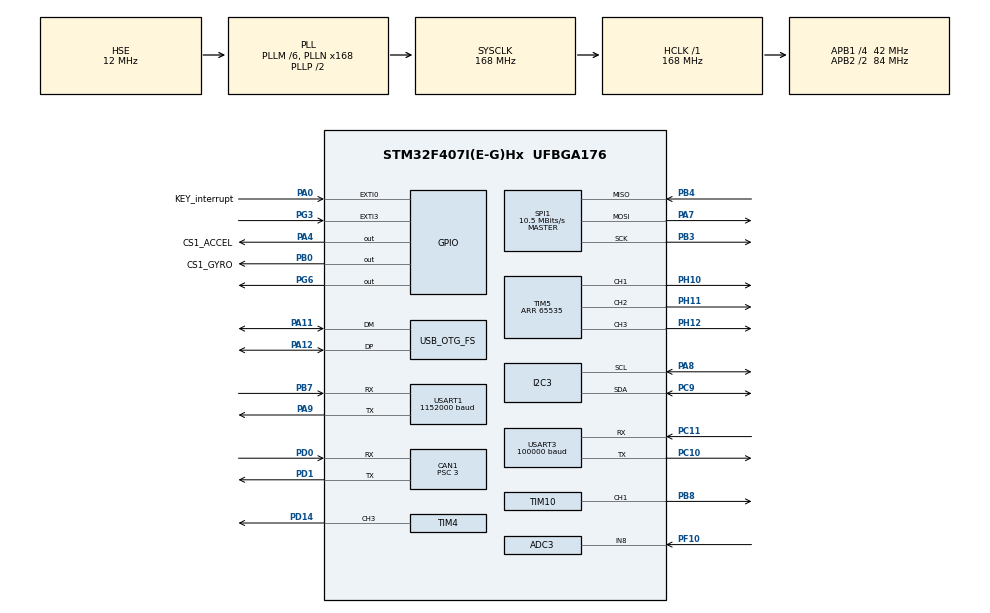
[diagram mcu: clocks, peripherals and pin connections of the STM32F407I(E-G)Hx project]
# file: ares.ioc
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ADC1.Channel-1\#ChannelRegularConversion=ADC_CHANNEL_VREFINT
ADC1.NbrOfConversionFlag=1
ADC1.Rank-1\#ChannelRegularConversion=1
ADC1.SamplingTime-1\#ChannelRegularConversion=ADC_SAMPLETIME_3CYCLES
ADC1.master=1
ADC3.Channel-0\#ChannelRegularConversion=ADC_CHANNEL_8
ADC3.NbrOfConversionFlag=1
ADC3.Rank-0\#ChannelRegularConversion=1
ADC3.SamplingTime-0\#ChannelRegularConversion=ADC_SAMPLETIME_3CYCLES
CAN1.BS1=CAN_BS1_10TQ
CAN1.BS2=CAN_BS2_3TQ
CAN1.CalculateBaudRate=1000000
CAN1.CalculateTimeBit=1000
CAN1.CalculateTimeQuantum=71.42857142857143
CAN1.Prescaler=3
Dma.Request0=USART3_RX
Dma.USART3_RX.0.Direction=DMA_PERIPH_TO_MEMORY
Dma.USART3_RX.0.FIFOMode=DMA_FIFOMODE_DISABLE
Dma.USART3_RX.0.Instance=DMA1_Stream1
Dma.USART3_RX.0.MemDataAlignment=DMA_MDATAALIGN_BYTE
Dma.USART3_RX.0.MemInc=DMA_MINC_ENABLE
Dma.USART3_RX.0.Mode=DMA_NORMAL
Dma.USART3_RX.0.PeriphDataAlignment=DMA_PDATAALIGN_BYTE
Dma.USART3_RX.0.PeriphInc=DMA_PINC_DISABLE
Dma.USART3_RX.0.Priority=DMA_PRIORITY_LOW
FREERTOS.Tasks01=defaultTask,0,128,StartDefaultTask,Default,NULL,Dynamic,NULL,NULL
I2C3.I2C_Mode=I2C_Fast
Mcu.Family=STM32F4
Mcu.Name=STM32F407I(E-G)Hx
Mcu.Package=UFBGA176
NVIC.CAN1_RX0_IRQn=true\:5\:0\:false\:false\:true\:true\:true\:true\:true
NVIC.CAN1_RX1_IRQn=true\:5\:0\:false\:false\:true\:true\:true\:true\:true
NVIC.CAN1_SCE_IRQn=true\:5\:0\:false\:false\:true\:true\:true\:true\:true
NVIC.CAN1_TX_IRQn=true\:5\:0\:false\:false\:true\:true\:true\:true\:true
NVIC.DMA1_Stream1_IRQn=true\:5\:0\:false\:false\:true\:true\:false\:true\:true
NVIC.EXTI0_IRQn=true\:5\:0\:false\:false\:true\:true\:true\:true\:true
NVIC.EXTI3_IRQn=true\:5\:0\:false\:false\:true\:true\:true\:true\:true
NVIC.OTG_FS_IRQn=true\:5\:0\:false\:false\:true\:true\:true\:true\:true
NVIC.PriorityGroup=NVIC_PRIORITYGROUP_4
NVIC.TIM7_IRQn=true\:15\:0\:false\:false\:true\:false\:false\:true\:true
NVIC.TimeBase=TIM7_IRQn
NVIC.TimeBaseIP=TIM7
NVIC.USART1_IRQn=true\:5\:0\:false\:false\:true\:true\:true\:true\:true
NVIC.USART3_IRQn=true\:5\:0\:false\:false\:true\:true\:true\:true\:true
PA0-WKUP.GPIO_Label=KEY_interrupt
PA0-WKUP.GPIO_ModeDefaultEXTI=GPIO_MODE_IT_FALLING
PA0-WKUP.Signal=GPXTI0
PA11.Mode=Device_Only
PA11.Signal=USB_OTG_FS_DM
PA12.Mode=Device_Only
PA12.Signal=USB_OTG_FS_DP
PA13.Mode=Serial_Wire
PA13.Signal=SYS_JTMS-SWDIO
PA14.Mode=Serial_Wire
PA14.Signal=SYS_JTCK-SWCLK
PA4.GPIO_Label=CS1_ACCEL
PA4.PinState=GPIO_PIN_SET
PA4.Signal=GPIO_Output
PA7.Mode=Full_Duplex_Master
PA7.Signal=SPI1_MOSI
PA8.Mode=I2C
PA8.Signal=I2C3_SCL
PA9.Mode=Asynchronous
PA9.Signal=USART1_TX
PB0.GPIO_Label=CS1_GYRO
PB0.PinState=GPIO_PIN_SET
PB0.Signal=GPIO_Output
PB3.Mode=Full_Duplex_Master
PB3.Signal=SPI1_SCK
PB4.Mode=Full_Duplex_Master
PB4.Signal=SPI1_MISO
PB7.Mode=Asynchronous
PB7.Signal=USART1_RX
PB8.Signal=S_TIM10_CH1
PC10.Mode=Asynchronous
PC10.Signal=USART3_TX
PC11.Mode=Asynchronous
PC11.Signal=USART3_RX
PC9.Mode=I2C
PC9.Signal=I2C3_SDA
PD0.Mode=CAN_Activate
PD0.Signal=CAN1_RX
PD1.Mode=CAN_Activate
PD1.Signal=CAN1_TX
PD14.Signal=S_TIM4_CH3
PF10.Mode=IN8
PF10.Signal=ADC3_IN8
PG3.Signal=GPXTI3
PG6.Signal=GPIO_Output
PH0-OSC_IN.Mode=HSE-External-Oscillator
PH0-OSC_IN.Signal=RCC_OSC_IN
PH1-OSC_OUT.Mode=HSE-External-Oscillator
PH1-OSC_OUT.Signal=RCC_OSC_OUT
PH10.Signal=S_TIM5_CH1
PH11.Signal=S_TIM5_CH2
PH12.Signal=S_TIM5_CH3
ProjectManager.HeapSize=0x5000
ProjectManager.StackSize=0x5000
ProjectManager.TargetToolchain=Makefile
RCC.48MHZClocksFreq_Value=48000000
RCC.AHBFreq_Value=168000000
RCC.APB1CLKDivider=RCC_HCLK_DIV4
RCC.APB1Freq_Value=42000000
RCC.APB1TimFreq_Value=84000000
RCC.APB2CLKDivider=RCC_HCLK_DIV2
RCC.APB2Freq_Value=84000000
RCC.APB2TimFreq_Value=168000000
RCC.CortexFreq_Value=168000000
RCC.HCLKFreq_Value=168000000
RCC.HSE_VALUE=12000000
RCC.HSI_VALUE=16000000
RCC.LSE_VALUE=32768
RCC.PLLM=6
RCC.PLLN=168
RCC.PLLQ=7
RCC.SYSCLKFreq_VALUE=168000000
RCC.SYSCLKSource=RCC_SYSCLKSOURCE_PLLCLK
RCC.VCOOutputFreq_Value=336000000
SH.S_TIM10_CH1.0=TIM10_CH1,PWM Generation1 CH1
SH.S_TIM4_CH3.0=TIM4_CH3,PWM Generation3 CH3
SH.S_TIM5_CH1.0=TIM5_CH1,PWM Generation1 CH1
SH.S_TIM5_CH2.0=TIM5_CH2,PWM Generation2 CH2
SH.S_TIM5_CH3.0=TIM5_CH3,PWM Generation3 CH3
SPI1.BaudRatePrescaler=SPI_BAUDRATEPRESCALER_8
SPI1.CLKPhase=SPI_PHASE_2EDGE
SPI1.CLKPolarity=SPI_POLARITY_HIGH
SPI1.CalculateBaudRate=10.5 MBits/s
SPI1.Direction=SPI_DIRECTION_2LINES
SPI1.Mode=SPI_MODE_MASTER
SPI1.VirtualType=VM_MASTER
STMicroelectronics.X-CUBE-ALGOBUILD.1.3.0.LibraryCcDSPOoLibraryJjDSPOoLibrary=true
TIM10.Channel=TIM_CHANNEL_1
TIM10.Period=5000-1
TIM10.Prescaler=167
TIM4.AutoReloadPreload=TIM_AUTORELOAD_PRELOAD_ENABLE
TIM4.Channel-PWM\ Generation3\ CH3=TIM_CHANNEL_3
TIM4.Period=21000
TIM4.Pulse-PWM\ Generation3\ CH3=10500
TIM5.Channel-PWM\ Generation1\ CH1=TIM_CHANNEL_1
TIM5.Channel-PWM\ Generation2\ CH2=TIM_CHANNEL_2
TIM5.Channel-PWM\ Generation3\ CH3=TIM_CHANNEL_3
TIM5.Period=65535
USART1.BaudRate=1152000
USART1.VirtualMode=VM_ASYNC
USART3.BaudRate=100000
USART3.Parity=PARITY_EVEN
USART3.StopBits=STOPBITS_2
USART3.VirtualMode=VM_ASYNC
USART3.WordLength=WORDLENGTH_9B
USB_DEVICE.CLASS_NAME_FS=CDC
USB_DEVICE.PID_CDC_FS=202
USB_DEVICE.VirtualMode-CDC_FS=Cdc
USB_DEVICE.VirtualModeFS=Cdc_FS
USB_OTG_FS.VirtualMode=Device_Only
VP_ADC1_Vref_Input.Mode=IN-Vrefint
VP_FREERTOS_VS_CMSIS_V1.Mode=CMSIS_V1
VP_STMicroelectronics.X-CUBE-ALGOBUILD_VS_DSPOoLibraryJjLibrary_1.3.0_1.3.0.Mode=DSPOoLibraryJjLibrary
VP_SYS_VS_tim7.Mode=TIM7
VP_TIM10_VS_ClockSourceINT.Mode=Enable_Timer
VP_TIM4_VS_ClockSourceINT.Mode=Internal
VP_TIM5_VS_ClockSourceINT.Mode=Internal
VP_USB_DEVICE_VS_USB_DEVICE_CDC_FS.Mode=CDC_FS
board=custom

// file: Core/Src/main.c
/* USER CODE BEGIN Header */
/**
 ******************************************************************************
 * @file           : main.c
 * @brief          : Main program body
 ******************************************************************************
 * @attention
 *
 * <h2><center>&copy; Copyright (c) 2019 STMicroelectronics.
 * All rights reserved.</center></h2>
 *
 * This software component is licensed by ST under BSD 3-Clause license,
 * the "License"; You may not use this file except in compliance with the
 * License. You may obtain a copy of the License at:
 *                        opensource.org/licenses/BSD-3-Clause
 *
 ******************************************************************************
 */
/* USER CODE END Header */
#include "main.h"
#include "cmsis_os.h"
#include "adc.h"
#include "can.h"
#include "dma.h"
#include "i2c.h"
#include "spi.h"
#include "tim.h"
#include "usart.h"
#include "usb_device.h"
#include "gpio.h"

/* USER CODE BEGIN Includes */
#include "bsp_can.h"
#include "CAN_receive.h"
#include "BMI088driver.h"
#include "remote.h"
#include "adc_sample.h"
// #include "ist8310driver.h"
// #include "ist8310driver_middleware.h"
#include "bsp_log.h"
#include "bsp_dwt.h"
#include "pwm.h"
#include "MotorTask.h"
#include "ins_task.h"

// #include "MotorTask."
/* USER CODE END Includes */

/* USER CODE BEGIN PD */
extern SPI_HandleTypeDef hspi1;
/* USER CODE END PD */

void SystemClock_Config(void);
void MX_FREERTOS_Init(void);

int main(void)
{

  /* MCU Configuration--------------------------------------------------------*/

  /* Reset of all peripherals, Initializes the Flash interface and the Systick. */
  HAL_Init();

  /* Configure the system clock */
  SystemClock_Config();

  /* Initialize all configured peripherals */
  MX_GPIO_Init();
  MX_DMA_Init();
  MX_CAN1_Init();
  MX_USART1_UART_Init();
  MX_SPI1_Init();
  MX_USART3_UART_Init();
  MX_ADC3_Init();
  MX_ADC1_Init();
  MX_I2C3_Init();
  MX_TIM5_Init();
  MX_TIM4_Init();
  MX_TIM10_Init();
  /* USER CODE BEGIN 2 */

  //这里后面要封装好

  motor_data_init(); // desireRpm = 0
  DWT_Init(168);        //初始化DWT
  // BSPLogInit(); //初始化segger rtt打印功能
  can_filter_init(); // 初始化can滤波
  SBUS_IT_Open();    // 初始化遥控器
  // init_vrefint_reciprocal(); // 初始化电
  // ist8310_init(); //暂时不需要磁力计
  pwm_init();
  // INS_Init();

      // while (BMI088Init(&hspi1, 1) != BMI088_NO_ERROR) // 初始化以及标定IMU
      // {
      //   ;
      // }
      /* USER CODE END 2 */

      /* Call init function for freertos objects (in freertos.c) */
  MX_FREERTOS_Init();

  /* Start scheduler */
  osKernelStart();

  /* We should never get here as control is now taken by the scheduler */
  /* Infinite loop */
  /* USER CODE BEGIN WHILE */
  while (1)
  {
    // // if (given)

    /* USER CODE END WHILE */

  }
}

void SystemClock_Config(void)
{
  RCC_OscInitTypeDef RCC_OscInitStruct = {0};
  RCC_ClkInitTypeDef RCC_ClkInitStruct = {0};

  /** Configure the main internal regulator output voltage
  */
  __HAL_RCC_PWR_CLK_ENABLE();
  __HAL_PWR_VOLTAGESCALING_CONFIG(PWR_REGULATOR_VOLTAGE_SCALE1);

  /** Initializes the RCC Oscillators according to the specified parameters
  * in the RCC_OscInitTypeDef structure.
  */
  RCC_OscInitStruct.OscillatorType = RCC_OSCILLATORTYPE_HSE;
  RCC_OscInitStruct.HSEState = RCC_HSE_ON;
  RCC_OscInitStruct.PLL.PLLState = RCC_PLL_ON;
  RCC_OscInitStruct.PLL.PLLSource = RCC_PLLSOURCE_HSE;
  RCC_OscInitStruct.PLL.PLLM = 6;
  RCC_OscInitStruct.PLL.PLLN = 168;
  RCC_OscInitStruct.PLL.PLLP = RCC_PLLP_DIV2;
  RCC_OscInitStruct.PLL.PLLQ = 7;
  if (HAL_RCC_OscConfig(&RCC_OscInitStruct) != HAL_OK)
  {
    Error_Handler();
  }

  /** Initializes the CPU, AHB and APB buses clocks
  */
  RCC_ClkInitStruct.ClockType = RCC_CLOCKTYPE_HCLK|RCC_CLOCKTYPE_SYSCLK
                              |RCC_CLOCKTYPE_PCLK1|RCC_CLOCKTYPE_PCLK2;
  RCC_ClkInitStruct.SYSCLKSource = RCC_SYSCLKSOURCE_PLLCLK;
  RCC_ClkInitStruct.AHBCLKDivider = RCC_SYSCLK_DIV1;
  RCC_ClkInitStruct.APB1CLKDivider = RCC_HCLK_DIV4;
  RCC_ClkInitStruct.APB2CLKDivider = RCC_HCLK_DIV2;

  if (HAL_RCC_ClockConfig(&RCC_ClkInitStruct, FLASH_LATENCY_5) != HAL_OK)
  {
    Error_Handler();
  }
}

void HAL_TIM_PeriodElapsedCallback(TIM_HandleTypeDef *htim)
{
  if (htim->Instance == TIM7) {
    HAL_IncTick();
  }
}

void Error_Handler(void)
{
}

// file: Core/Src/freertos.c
/* USER CODE BEGIN Header */
/**
 ******************************************************************************
 * File Name          : freertos.c
 * Description        : Code for freertos applications
 ******************************************************************************
 * @attention
 *
 * Copyright (c) 2023 STMicroelectronics.
 * All rights reserved.
 *
 * This software is licensed under terms that can be found in the LICENSE file
 * in the root directory of this software component.
 * If no LICENSE file comes with this software, it is provided AS-IS.
 *
 ******************************************************************************
 */
/* USER CODE END Header */

#include "FreeRTOS.h"
#include "task.h"
#include "main.h"
#include "cmsis_os.h"

/* USER CODE BEGIN Includes */
#include "MotorTask.h"
#include "UsartTask.h"
#include "bsp_log.h"
/* USER CODE END Includes */

/* USER CODE BEGIN Variables */
osThreadId led_blue_TaskHandle;
osThreadId motor_run_TaskHandle;
osThreadId imu_read_write_TaskHandle;
osThreadId adc_sample_TaskHandle;
osThreadId pwm_led_TaskHandle;
osThreadId ins_task_TaskHandle;
/* USER CODE END Variables */
osThreadId defaultTaskHandle;

/* USER CODE BEGIN FunctionPrototypes */
__weak void LED_Blue_Task(void const *argument);
__weak void MotorTask(void const *argument);
__weak void Imu_read_temp_Task(void const *argument);
__weak void ADC_sample_Task(void const *argument);
__weak void PWM_led_Task(void const *argument);
__weak void PWM_buzzer_Task(void const *argument);
__weak void Ins_Task(void const *argument);
__weak void StartINSTASK(void const *argument);

// extern void Imu_read_temp_Task(void const *argument);
// extern void MotorTask(void const *argument);
/* USER CODE END FunctionPrototypes */

void StartDefaultTask(void const * argument);

extern void MX_USB_DEVICE_Init(void);
void MX_FREERTOS_Init(void); /* (MISRA C 2004 rule 8.1) */

/* GetIdleTaskMemory prototype (linked to static allocation support) */
void vApplicationGetIdleTaskMemory( StaticTask_t **ppxIdleTaskTCBBuffer, StackType_t **ppxIdleTaskStackBuffer, uint32_t *pulIdleTaskStackSize );

/* USER CODE BEGIN GET_IDLE_TASK_MEMORY */
static StaticTask_t xIdleTaskTCBBuffer;
static StackType_t xIdleStack[configMINIMAL_STACK_SIZE];

void vApplicationGetIdleTaskMemory(StaticTask_t **ppxIdleTaskTCBBuffer, StackType_t **ppxIdleTaskStackBuffer, uint32_t *pulIdleTaskStackSize)
{
  *ppxIdleTaskTCBBuffer = &xIdleTaskTCBBuffer;
  *ppxIdleTaskStackBuffer = &xIdleStack[0];
  *pulIdleTaskStackSize = configMINIMAL_STACK_SIZE;
  /* place for user code */
}
/* USER CODE END GET_IDLE_TASK_MEMORY */

void MX_FREERTOS_Init(void) {

  /* Create the thread(s) */
  /* definition and creation of defaultTask */
  osThreadDef(defaultTask, StartDefaultTask, osPriorityNormal, 0, 128);
  defaultTaskHandle = osThreadCreate(osThread(defaultTask), NULL);

  /* USER CODE BEGIN RTOS_THREADS */
  /* add threads, ... */
  // osThreadDef(defaultTask, StartDefaultTask, osPriorityNormal, 0, 128);
  // defaultTaskHandle = osThreadCreate(osThread(defaultTask), NULL);

  /* definition and creation of LED_Task_Blue */
  // osThreadDef(LED_Task_Blue, LED_Blue_Task, osPriorityNormal, 0, 128);
  // led_blue_TaskHandle = osThreadCreate(osThread(LED_Task_Blue), NULL);

  /* definition and creation of motor_ang_task */
  osThreadDef(motor_ang_task, MotorTask, osPriorityAboveNormal, 0, 128);
  motor_run_TaskHandle = osThreadCreate(osThread(motor_ang_task), NULL);

  // BMI088 read
  // /* definition and creation of imu_read_Task */
  // osThreadDef(imu_read_temp_Task, Imu_read_temp_Task, osPriorityHigh, 0, 128 * 4);
  // imu_read_write_TaskHandle = osThreadCreate(osThread(imu_read_temp_Task), NULL);

  /* definition and creation of imu_read_Task */
  // osThreadDef(imu_read_Task, Imu_read_temp_Task, osPriorityAboveNormal, 0, 128);
  // imu_read_TaskHandle = osThreadCreate(osThread(imu_read_Task), NULL);

  /* definition and creation of ADC_sample_Task */
  // osThreadDef(adc_sample_Task, ADC_sample_Task, osPriorityNormal, 0, 128);
  // adc_sample_TaskHandle = osThreadCreate(osThread(adc_sample_Task), NULL);

  /* definition and creation of LED_PWM_Task */
  osThreadDef(pwm_led, PWM_led_Task, osPriorityAboveNormal, 0, 128);
  pwm_led_TaskHandle = osThreadCreate(osThread(pwm_led), NULL);

  //ekf姿态解算
  /* definition and creation of LED_PWM_Task */
  // osThreadDef(ins_task, StartINSTASK, osPriorityHigh, 0, 128 * 8);
  // ins_task_TaskHandle = osThreadCreate(osThread(ins_task), NULL);

  /* definition and creation of LED_PWM_Task */
  // osThreadDef(pwm_buzzer, PWM_buzzer_Task, osPriorityNormal, 0, 128);
  // pwm_led_TaskHandle = osThreadCreate(osThread(pwm_buzzer), NULL);

  /* USER CODE END RTOS_THREADS */

}

void StartDefaultTask(void const * argument)
{
  /* init code for USB_DEVICE */
  MX_USB_DEVICE_Init();
  /* USER CODE BEGIN StartDefaultTask */
  osThreadTerminate(NULL);
  /* USER CODE END StartDefaultTask */
}

/* USER CODE BEGIN Application */
__weak void LED_Blue_Task(void const *argument)
{
  for (;;)
  {
    osDelay(1);
  }
}
__weak void MotorTask(void const *argument)
{
  for (;;)
  {
    osDelay(1);
  }
}

__weak void Imu_read_temp_Task(void const *argument)
{
  for (;;)
  {
    osDelay(1);
  }
}
__weak void ADC_sample_Task(void const *argument)
{
  for (;;)
  {
    osDelay(1);
  }
}
__weak void PWM_led_Task(void const *argument)
{
  for (;;)
  {
    osDelay(1);
  }
}
__weak void PWM_buzzer_Task(void const *argument)
{
  for (;;)
  {
    osDelay(1);
  }
}
__weak void StartINSTASK(void const *argument)
{
  for (;;)
  {
    osDelay(1);
  }
}

/* USER CODE END Application */
